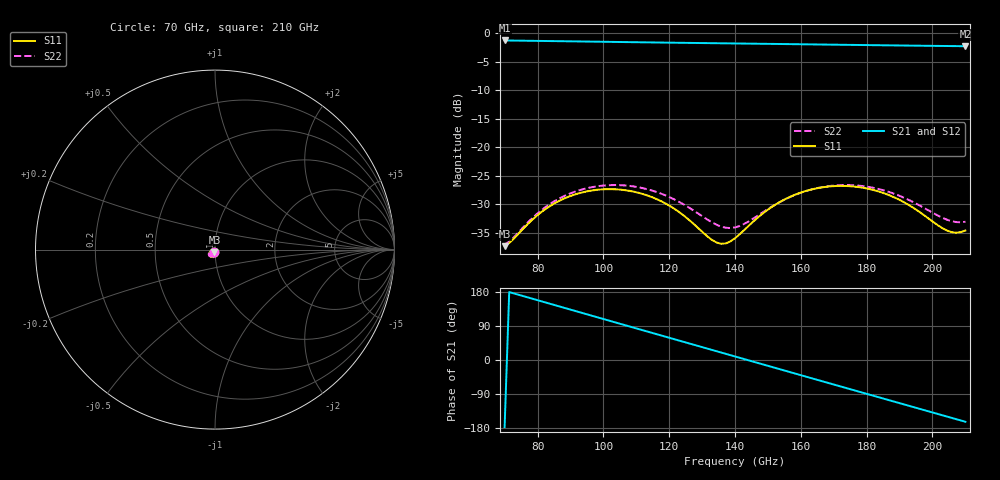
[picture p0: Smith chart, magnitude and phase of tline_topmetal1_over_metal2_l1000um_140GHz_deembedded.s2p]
! Created with skrf 2.2.0 (http://scikit-rf.org).
# GHz S DB R 50.0
! Port[1] = P1
! Port[2] = P2
!freq dBS11 angS11 dBS21 angS21 dBS12 angS12 dBS22 angS22
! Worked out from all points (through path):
!   101 points, 70 GHz to 210 GHz, reference 50 ohm
!   highest |S21| = -1.27 dB at 70 GHz (marker M1); lowest = -2.3 dB at 210 GHz (marker M2)
!   group delay of S21, straight-line fit = 6.86 ps
!   lowest |S11| = -37.4 dB at 70 GHz (marker M3), VSWR 1.03, Z = 49.7 - j1.31 ohm
!   |S11| at or under -10 dB: start of sweep to end of sweep
!   |S22| runs from -37.1 to -26.6 dB; largest |S21 - S12| = 9.7e-14
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70  -37.37 -104.0  -1.27 -177.3  -1.27 -177.3  -37.08 -104.5
75.6  -34.33 -84.9  -1.32 168.8  -1.32 168.8  -34.08 -84.2
81.2  -31.37 -84.8  -1.36 154.9  -1.36 154.9  -31.04 -83.3
86.8  -29.36 -92.0  -1.40 141.0  -1.40 141.0  -28.94 -90.0
93.8  -27.90 -104.5  -1.46 123.6  -1.46 123.6  -27.37 -101.9
99.4  -27.41 -115.4  -1.50 109.7  -1.50 109.7  -26.77 -112.4
105  -27.44 -126.4  -1.54 95.8  -1.54 95.8  -26.66 -122.8
110.6  -27.99 -136.8  -1.59 82.0  -1.59 82.0  -27.02 -132.8
117.6  -29.49 -148.0  -1.64 64.7  -1.64 64.7  -28.16 -143.3
126  -32.74 -153.7  -1.70 43.9  -1.70 43.9  -30.60 -149.8
134.4  -36.73 -133.5  -1.76 23.2  -1.76 23.2  -33.61 -140.0
137.2  -36.88 -118.9  -1.78 16.2  -1.78 16.2  -34.14 -131.5
140  -35.97 -106.2  -1.80 9.3  -1.80 9.3  -34.08 -122.1
151.2  -30.48 -95.6  -1.88 -18.3  -1.88 -18.3  -30.42 -105.0
156.8  -28.69 -101.8  -1.92 -32.1  -1.92 -32.1  -28.72 -108.0
163.8  -27.34 -112.5  -1.97 -49.4  -1.97 -49.4  -27.33 -116.1
170.8  -26.81 -124.3  -2.02 -66.6  -2.02 -66.6  -26.70 -126.1
176.4  -26.92 -133.7  -2.06 -80.4  -2.06 -80.4  -26.69 -134.4
187.6  -28.60 -149.9  -2.14 -108.0  -2.14 -108.0  -28.01 -148.6
196  -31.34 -154.5  -2.19 -128.6  -2.19 -128.6  -30.19 -152.8
204.4  -34.63 -139.5  -2.25 -149.3  -2.25 -149.3  -32.72 -142.7
210  -34.62 -117.5  -2.29 -163.0  -2.29 -163.0  -33.08 -127.1
